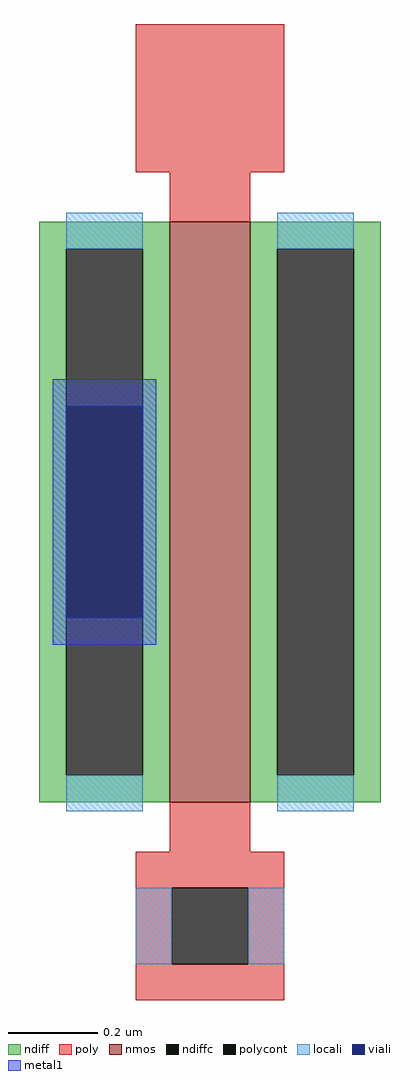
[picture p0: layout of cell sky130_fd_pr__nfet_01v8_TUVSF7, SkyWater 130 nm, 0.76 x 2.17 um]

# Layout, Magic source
magic
tech sky130A
magscale 1 2
<< nmos >>
rect -18 -129 18 129
<< ndiff >>
rect -76 117 -18 129
rect -76 -117 -64 117
rect -30 -117 -18 117
rect -76 -129 -18 -117
rect 18 117 76 129
rect 18 -117 30 117
rect 64 -117 76 117
rect 18 -129 76 -117
<< ndiffc >>
rect -64 -117 -30 117
rect 30 -117 64 117
<< poly >>
rect -33 151 33 217
rect -18 129 18 151
rect -18 -151 18 -129
rect -33 -167 33 -151
rect -33 -201 -17 -167
rect 17 -201 33 -167
rect -33 -217 33 -201
<< polycont >>
rect -17 -201 17 -167
<< locali >>
rect -64 117 -30 133
rect -64 -133 -30 -117
rect 30 117 64 133
rect 30 -133 64 -117
rect -33 -201 -17 -167
rect 17 -201 33 -167
<< viali >>
rect -64 -47 -30 47
<< metal1 >>
rect -70 47 -24 59
rect -70 -47 -64 47
rect -30 -47 -24 47
rect -70 -59 -24 -47
<< properties >>
string gencell sky130_fd_pr__nfet_01v8
string library sky130
string parameters w 1.29 l 0.18 m 1 nf 1 diffcov 100 polycov 100 guard 0 glc 0 grc 0 gtc 0 gbc 0 tbcov 100 rlcov 100 topc 1 botc 1 poverlap 0 doverlap 1 lmin 0.15 wmin 0.42 compatible {sky130_fd_pr__nfet_01v8 sky130_fd_pr__nfet_01v8_lvt  sky130_fd_bs_flash__special_sonosfet_star  sky130_fd_pr__nfet_g5v0d10v5 sky130_fd_pr__nfet_05v0_nvt  sky130_fd_pr__nfet_03v3_nvt} full_metal 0 viasrc -40 viadrn 40 viagate 100 viagb 100 viagr 0 viagl 0 viagt 0
<< end >>
